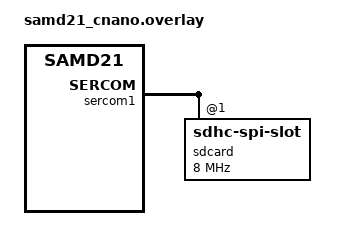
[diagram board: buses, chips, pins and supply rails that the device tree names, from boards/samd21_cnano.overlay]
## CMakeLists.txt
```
# SPDX-License-Identifier: Apache-2.0

cmake_minimum_required(VERSION 3.20.0)

find_package(Zephyr REQUIRED HINTS $ENV{ZEPHYR_BASE})
project(microsd)

target_sources(app PRIVATE src/main.c)
```

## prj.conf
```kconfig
# SPDX-License-Identifier: Apache-2.0

# SD card over SPI: SPI bus -> SDHC SPI driver -> SD/MMC disk
CONFIG_SPI=y
CONFIG_DISK_ACCESS=y

# FAT file system on the "SD" disk
CONFIG_FILE_SYSTEM=y
CONFIG_FAT_FILESYSTEM_ELM=y
# Never format the card if mounting fails (for example an exFAT card)
CONFIG_FS_FATFS_MOUNT_MKFS=n

CONFIG_MAIN_STACK_SIZE=2048
```

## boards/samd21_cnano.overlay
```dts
/* SPDX-License-Identifier: Apache-2.0 */

/*
 * Curiosity Nano Explorer microSD socket on the SAM D21 Curiosity Nano.
 * The socket is on the Explorer SPI bus (SERCOM1: PA16 MOSI, PA17 SCK,
 * PA19 MISO) with its chip select on Explorer IO 25, which is PB23.
 * The board already uses PA18 as chip select 0 for the SPI EEPROM, so
 * the SD card is added as chip select 1.
 */

&sercom1 {
	cs-gpios = <&porta 18 GPIO_ACTIVE_LOW>, <&portb 23 GPIO_ACTIVE_LOW>;

	sdcard: sdhc@1 {
		compatible = "zephyr,sdhc-spi-slot";
		reg = <1>;
		spi-max-frequency = <8000000>;

		mmc {
			compatible = "zephyr,sdmmc-disk";
			disk-name = "SD";
		};
	};
};
```

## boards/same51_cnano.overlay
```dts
/* SPDX-License-Identifier: Apache-2.0 */

/*
 * Curiosity Nano Explorer microSD socket on the SAM E51 Curiosity Nano.
 * The socket is on the Explorer SPI bus (SERCOM1: PA16 MOSI, PA17 SCK,
 * PA19 MISO) with its chip select on Explorer IO 25, which is PB06.
 * The board already uses PA18 as chip select 0 for the SPI EEPROM, so
 * the SD card is added as chip select 1.
 */

&sercom1 {
	cs-gpios = <&porta 18 GPIO_ACTIVE_LOW>, <&portb 6 GPIO_ACTIVE_LOW>;

	sdcard: sdhc@1 {
		compatible = "zephyr,sdhc-spi-slot";
		reg = <1>;
		spi-max-frequency = <8000000>;

		mmc {
			compatible = "zephyr,sdmmc-disk";
			disk-name = "SD";
		};
	};
};
```

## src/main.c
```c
/* SPDX-License-Identifier: Apache-2.0 */

/*
 * Curiosity Nano Explorer microSD card example.
 *
 * Reads the card size, mounts its FAT file system, appends one line to
 * LOG.TXT, prints the file back and lists the files in the root folder.
 * LOG.TXT grows by one line every reset, which shows that the writes
 * really reach the card.
 *
 * The card is the "SD" disk created by the zephyr,sdmmc-disk node in the
 * board overlay.
 */

#include <zephyr/kernel.h>
#include <zephyr/fs/fs.h>
#include <zephyr/storage/disk_access.h>
#include <ff.h>

#define DISK_NAME "SD"
#define MOUNT_POINT "/" DISK_NAME ":"
#define LOG_FILE MOUNT_POINT "/LOG.TXT"

static FATFS fat_fs;

static struct fs_mount_t sd_mount = {
	.type = FS_FATFS,
	.fs_data = &fat_fs,
	.storage_dev = (void *)DISK_NAME,
	.mnt_point = MOUNT_POINT,
	/* Never format the card, even if no FAT file system is found */
	.flags = FS_MOUNT_FLAG_NO_FORMAT,
};

static int print_card_size(void)
{
	uint32_t sector_count;
	uint32_t sector_size;
	int err;

	err = disk_access_ioctl(DISK_NAME, DISK_IOCTL_CTRL_INIT, NULL);
	if (err != 0) {
		printk("No card found (error %d)\n", err);
		return err;
	}

	err = disk_access_ioctl(DISK_NAME, DISK_IOCTL_GET_SECTOR_COUNT, &sector_count);
	if (err == 0) {
		err = disk_access_ioctl(DISK_NAME, DISK_IOCTL_GET_SECTOR_SIZE, &sector_size);
	}
	if (err != 0) {
		printk("Could not read the card size (error %d)\n", err);
		return err;
	}

	printk("Card: %u sectors of %u bytes, %u MB\n", sector_count, sector_size,
	       (uint32_t)(((uint64_t)sector_count * sector_size) >> 20));
	return 0;
}

static int append_log_line(void)
{
	struct fs_file_t file;
	char line[48];
	int len;
	int err;

	fs_file_t_init(&file);

	err = fs_open(&file, LOG_FILE, FS_O_CREATE | FS_O_APPEND | FS_O_WRITE);
	if (err != 0) {
		printk("Could not open %s for writing (error %d)\n", LOG_FILE, err);
		return err;
	}

	len = snprintk(line, sizeof(line), "Boot at uptime %u ms\n", k_uptime_get_32());

	ssize_t written = fs_write(&file, line, len);

	err = fs_close(&file);
	if (written != len) {
		printk("Write failed (%d)\n", (int)written);
		return -EIO;
	}

	return err;
}

static int print_log(void)
{
	struct fs_file_t file;
	char buf[64];
	ssize_t len;
	int err;

	fs_file_t_init(&file);

	err = fs_open(&file, LOG_FILE, FS_O_READ);
	if (err != 0) {
		printk("Could not open %s for reading (error %d)\n", LOG_FILE, err);
		return err;
	}

	printk("--- %s ---\n", LOG_FILE);
	do {
		len = fs_read(&file, buf, sizeof(buf) - 1);
		if (len > 0) {
			buf[len] = '\0';
			printk("%s", buf);
		}
	} while (len > 0);
	printk("--- end ---\n");

	fs_close(&file);

	return (len < 0) ? (int)len : 0;
}

static int list_root(void)
{
	struct fs_dir_t dir;
	struct fs_dirent entry;
	int err;

	fs_dir_t_init(&dir);

	err = fs_opendir(&dir, MOUNT_POINT);
	if (err != 0) {
		printk("Could not open %s (error %d)\n", MOUNT_POINT, err);
		return err;
	}

	printk("Files in %s\n", MOUNT_POINT);
	while (true) {
		err = fs_readdir(&dir, &entry);
		if (err != 0 || entry.name[0] == '\0') {
			break;
		}

		if (entry.type == FS_DIR_ENTRY_DIR) {
			printk("  [DIR]  %s\n", entry.name);
		} else {
			printk("  %8zu %s\n", entry.size, entry.name);
		}
	}

	fs_closedir(&dir);

	return err;
}

int main(void)
{
	int err;

	printk("Explorer microSD demo\n");

	if (print_card_size() != 0) {
		return 0;
	}

	err = fs_mount(&sd_mount);
	if (err != 0) {
		printk("Mount failed (error %d). Is the card FAT32 formatted?\n", err);
		return 0;
	}
	printk("Mounted at %s\n", MOUNT_POINT);

	if (append_log_line() == 0) {
		print_log();
	}

	list_root();

	err = fs_unmount(&sd_mount);
	printk("Unmounted (%d). Done.\n", err);

	return 0;
}
```
